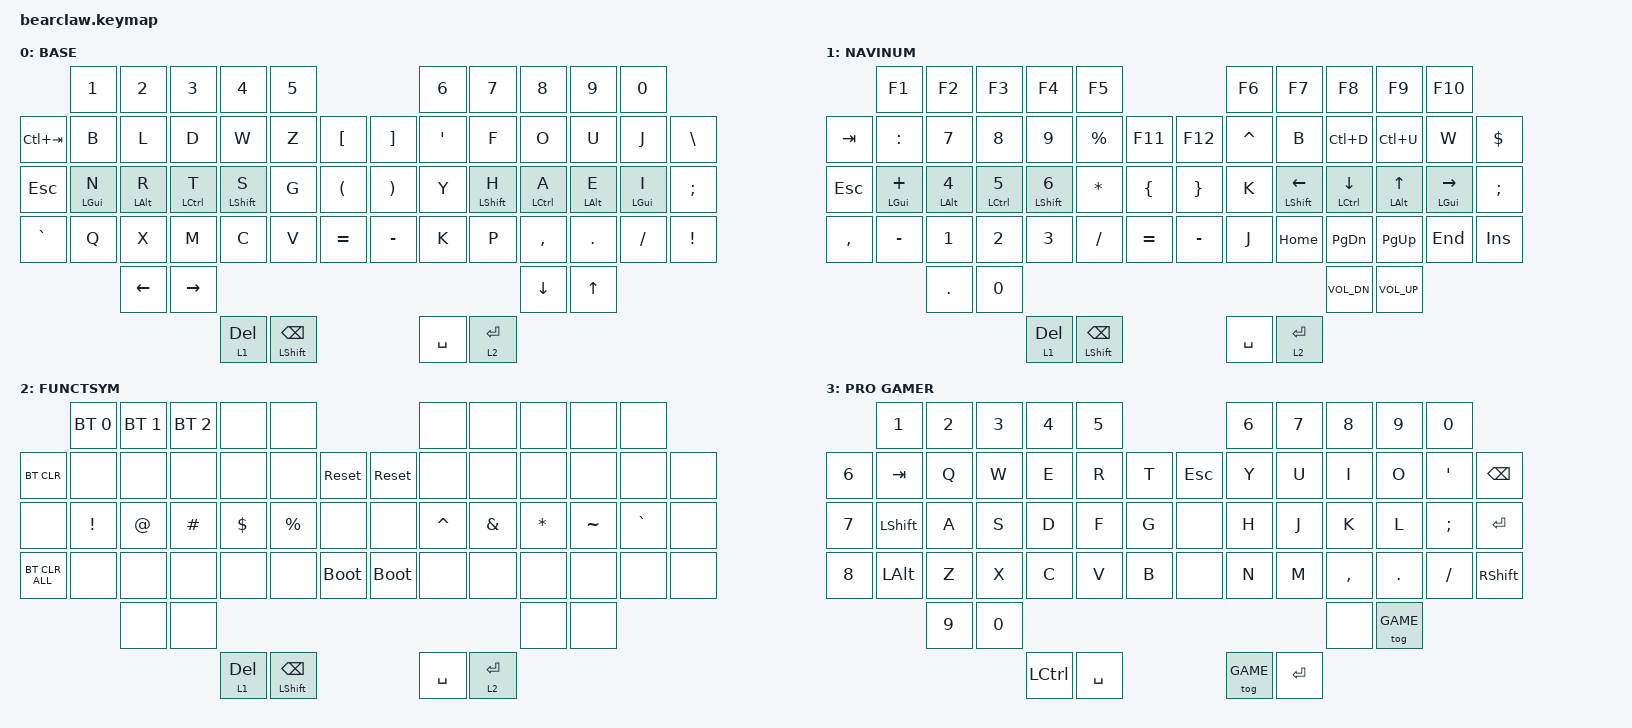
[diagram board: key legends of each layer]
#include <dt-bindings/zmk/behaviors.h>
#include <behaviors.dtsi>
#include <dt-bindings/zmk/keys.h>
#include <dt-bindings/zmk/bt.h>
#include <dt-bindings/zmk/outputs.h>

#define BASE 0
#define NAVNUM 1
#define FUNSYM 2
#define GAME 3
//#define FGAME 4


  // key posiitons 
  //  |    0  1  2  3  4     |   |    5  6  7  8  9     |
  //  | 10 11 12 13 14 15 16 |   | 17 18 19 20 21 22 23 |
  //  | 24 25 26 27 28 29 30 |   | 31 32 33 34 35 36 37 |
  //  | 38 39 40 41 42 43 44 |   | 45 46 47 48 49 50 51 |
  //  |       52 53          |   |          54 55       |
  //  |             56 57    |   |    58 59

/ {
  behaviors {

    hml: left_homerow_mods {
      compatible = "zmk,behavior-hold-tap";
      #binding-cells = <2>;
      flavor = "balanced";
      tapping-term-ms = <280>;
      quick-tap-ms = <175>;
      require-prior-idle-ms = <150>;
      bindings = <&kp>, <&kp>;
      hold-trigger-key-positions = <5 6 7 8 9 17 18 19 20 21 22 23 31 32 33 34 35 36 37 45 46 47 48 49 50 51 54 55 58 59>;
      hold-trigger-on-release;
    };

    hmr: right_homerow_mods {
      compatible = "zmk,behavior-hold-tap";
      #binding-cells = <2>;
      flavor = "balanced";
      tapping-term-ms = <280>;
      quick-tap-ms = <175>;
      require-prior-idle-ms = <150>;
      bindings = <&kp>, <&kp>;
      hold-trigger-key-positions = <0 1 2 3 4 10 11 12 13 14 15 16 24 25 26 27 28 29 30 38 39 40 41 42 43 44 52 53 56 57>;
      hold-trigger-on-release;
    };

  };
   
  //combo to trigger GAME layer. 
  combos {
    compatible = "zmk,combos";

    combo_game {
      timeout-ms = <50>;
      key-positions = <54 55>;
      bindings = <&tog GAME>;
    };
  
 //combo tab 
    combo_tab {
      timeout-ms = <50>;
      key-positions = <12 13>;
      bindings = <&kp TAB>;
    };

 //combo to select all on any layer 
    combo_all {
      timeout-ms = <50>;
      key-positions = <40 41 42>;
      bindings = <&kp LC(A)>;
    };
  };


  keymap {
    compatible = "zmk,keymap";

    base_layer {
      display-name = "BASE";
      bindings = <
                     &kp N1      &kp N2       &kp N3        &kp N4         &kp N5                             &kp N6    &kp N7         &kp N8        &kp N9       &kp N0    
        &kp LC(TAB)  &kp B       &kp L        &kp D         &kp W          &kp Z  &kp LBKT        &kp RBKT    &kp APOS  &kp F          &kp O         &kp U        &kp J       &kp BSLH 
        &kp ESC      &hml LGUI N &hml LALT R  &hml LCTRL T  &hml LSHIFT S  &kp G  &kp LPAR        &kp RPAR    &kp Y     &hmr LSHIFT H  &hmr LCTRL A  &hmr LALT E  &hmr LGUI I &kp SEMI   
        &kp GRAVE    &kp Q       &kp X        &kp M         &kp C          &kp V  &kp EQUAL       &kp MINUS   &kp K     &kp P          &kp COMMA     &kp DOT      &kp SLASH   &kp EXCL
                                 &kp LEFT     &kp RIGHT                                                                                &kp DOWN      &kp UP     
                                                          &lt 1 DEL    &mt LSHIFT BSPC                     &kp SPACE &lt 2 ENTER
      >;
    };

    navnum_layer {
      display-name = "NAVINUM";
      bindings = <
                     &kp F1          &kp F2        &kp F3        &kp F4         &kp F5                              &kp F6    &kp F7           &kp F8          &kp F9       &kp F10   
        &kp TAB      &kp COLON       &kp N7        &kp N8        &kp N9         &kp PERCENT &kp F11       &kp F12   &kp CARET &kp B            &kp LC(D)       &kp LC(U)    &kp W           &kp DOLLAR
        &kp ESC      &hml LGUI PLUS  &hml LALT N4  &hml LCTRL N5 &hml LSHIFT N6 &kp STAR    &kp LBRC      &kp RBRC  &kp K     &hmr LSHIFT LEFT &hmr LCTRL DOWN &hmr LALT UP &hmr LGUI RIGHT &kp SEMI    
        &kp COMMA    &kp MINUS       &kp N1        &kp N2        &kp N3         &kp SLASH   &kp EQUAL     &kp MINUS &kp J     &kp HOME         &kp PG_DN       &kp PG_UP    &kp END         &kp INSERT
                                     &kp DOT       &kp N0                                                                                      &kp C_VOL_DN    &kp C_VOL_UP
                                                          &lt 1 DEL    &mt LSHIFT BSPC                     &kp SPACE &lt 2 ENTER
      >;
    };

    funsym_layer {
      display-name = "FUNCTSYM";
      bindings = <
                       &bt BT_SEL 0 &bt BT_SEL 1 &bt BT_SEL 2 &none      &none                                       &none     &none     &none     &none     &none     
        &bt BT_CLR     &none        &none        &none        &none      &none       &sys_reset          &sys_reset  &none     &none     &none     &none     &none     &none 
        &none          &kp EXCL     &kp AT       &kp HASH     &kp DOLLAR &kp PERCENT &none               &none       &kp CARET &kp AMPS  &kp STAR  &kp TILDE &kp GRAVE &none 
        &bt BT_CLR_ALL &none        &none        &none        &none      &none       &bootloader         &bootloader &none     &none     &none     &none     &none     &none     
                                    &none     &none                                                                                      &none     &none     
                                                          &lt 1 DEL    &mt LSHIFT BSPC                     &kp SPACE &lt 2 ENTER
      >;
    };

    game_layer {
      display-name = "PRO GAMER";
      bindings = <
               &kp N1     &kp N2    &kp N3    &kp N4    &kp N5                       &kp N6    &kp N7    &kp N8    &kp N9    &kp N0    
        &kp N6 &kp TAB    &kp Q     &kp W     &kp E     &kp R   &kp T       &kp ESC  &kp Y     &kp U     &kp I     &kp O     &kp APOS  &kp BSPC
        &kp N7 &kp LSHIFT &kp A     &kp S     &kp D     &kp F   &kp G       &none    &kp H     &kp J     &kp K     &kp L     &kp SEMI  &kp ENTER   
        &kp N8 &kp LALT   &kp Z     &kp X     &kp C     &kp V   &kp B       &none    &kp N     &kp M     &kp COMMA &kp DOT   &kp SLASH &kp RSHIFT     
                                    &kp N9    &kp N0                                                     &none     &tog GAME     
                                                             &kp LCTRL &kp SPACE          &tog GAME &kp ENTER
      >;
    };

    //fgame_layer {
     // bindings = <
      //  &kp ESC    &kp F1    &kp F2    &kp F3    &kp F4    &kp F5 &kp F6       &none   &none     &none     &none     &none     &none     &none      
       // &kp BSPC   &kp P     &kp O     &kp I     &kp U     &kp Y  &kp F7       &none   &none     &none     &none     &none     &none     &none      
        //&kp ENTER  &kp M     &kp L     &kp K     &kp J     &kp H  &kp F8       &none   &none     &none     &none     &none     &none     &none      
        //&kp F6     &kp F11   &kp F12   &kp N     &kp N     &kp SLASH                   &none     &none     &none     &none     &none     &none                                      
                                      //&kp F9     &kp F10                                                                       &none     &tog GAME     
                                       // &kp LSHIFT &kp SPACE &kp ENTER                &kp BSPC  &kp SPACE  &mo NAVNUM
                                        //&trans     &kp LCTRL  &kp LALT                      &kp DEL   &kp TAB &none       
      //>;
    //};
  };
};
